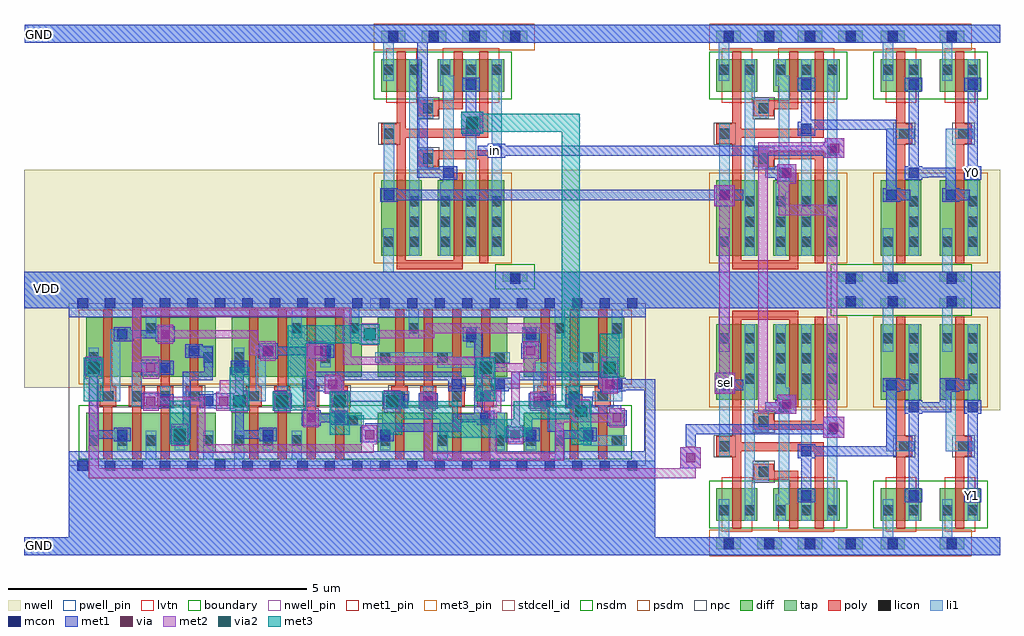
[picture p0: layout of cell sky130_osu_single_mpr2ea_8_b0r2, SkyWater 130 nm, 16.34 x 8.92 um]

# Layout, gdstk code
import gdstk
lib = gdstk.Library(unit=1e-6, precision=1e-09)
def R(c, l, rs):  # rectangles x0, y0, x1, y1
    for r in rs: c.add(gdstk.rectangle(r[:2], r[2:], *l))
def A(c, l, x, y, w, h, nx, ny, dx, dy):  # array of equal rectangles
    R(c, l, [(x+i*dx, y+j*dy, x+i*dx+w, y+j*dy+h) for i in range(nx) for j in range(ny)])
nwell_pin = (64, 16)
nwell = (64, 20)
diff = (65, 20)
tap = (65, 44)
poly = (66, 20)
licon = (66, 44)
li1 = (67, 20)
mcon = (67, 44)
met1_pin = (68, 16)
met1 = (68, 20)
via = (68, 44)
met2 = (69, 20)
via2 = (69, 44)
met3_pin = (70, 16)
met3 = (70, 20)
stdcell_id = (81, 4)
nsdm = (93, 44)
psdm = (94, 20)
npc = (95, 20)
pwell_pin = (122, 16)
lvtn = (125, 44)
boundary = (235, 4)

sky130_osu_sc_12t_hs__mu = lib.new_cell('sky130_osu_sc_12T_hs__mux2_1')
R(sky130_osu_sc_12t_hs__mu, nwell, [(-0.045,2.425,2.765,4.515)])
R(sky130_osu_sc_12t_hs__mu, diff, [(0.135,0.575,0.815,1.125), (1.085,0.575,2.195,1.125), (0.135,2.605,0.815,3.865), (1.085,2.605,2.195,3.865)])
A(sky130_osu_sc_12t_hs__mu, tap, 0.135, 0.105, 0.41, 0.2, 4, 1, 0.68, 0)
R(sky130_osu_sc_12t_hs__mu, tap, [(2.17,4.135,2.585,4.305)])
R(sky130_osu_sc_12t_hs__mu, poly, [(0.4,0.445,0.55,1.66), (1.35,0.445,1.5,1.265), (1.78,0.445,1.93,1.745), (0.76,1.265,1.5,1.415), (0.76,1.415,1.09,1.535), (0.135,1.66,0.55,1.745), (0.135,1.745,1.93,1.895), (0.135,1.895,0.55,1.99), (0.4,1.99,0.55,3.94), (0.76,2.105,1.93,2.255), (0.76,2.255,1.09,2.375), (1.78,2.255,1.93,3.995), (1.35,2.475,1.5,3.94), (0.4,3.94,1.5,4.09)])
A(sky130_osu_sc_12t_hs__mu, licon, 0.255, 0.135, 0.17, 0.17, 4, 1, 0.68, 0)
A(sky130_osu_sc_12t_hs__mu, licon, 1.125, 0.67, 0.17, 0.17, 3, 2, 0.43, 2.2)
A(sky130_osu_sc_12t_hs__mu, licon, 0.605, 2.87, 0.17, 0.17, 1, 3, 0, 0.34)
A(sky130_osu_sc_12t_hs__mu, licon, 1.125, 3.21, 0.17, 0.17, 3, 2, 0.43, 0.34)
R(sky130_osu_sc_12t_hs__mu, licon, [(0.175,0.67,0.345,0.84), (0.605,0.67,0.775,0.84), (0.84,1.315,1.01,1.485), (0.185,1.74,0.355,1.91), (0.84,2.155,1.01,2.325), (0.175,3.55,0.345,3.72), (2.295,4.135,2.465,4.305)])
R(sky130_osu_sc_12t_hs__mu, li1, [(0,0,2.75,0.305), (0.175,0.305,0.345,0.935), (0.605,0.575,0.775,1.235), (1.125,0.575,1.295,0.855), (1.555,0.575,1.725,1.085), (1.985,0.575,2.155,3.865), (1.125,0.855,1.35,1.025), (1.18,1.025,1.35,2.635), (0.605,1.235,1.01,1.565), (0.605,1.565,0.775,2.075), (1.555,1.655,1.725,3.865), (0.185,1.66,0.355,2.935), (0.605,2.075,1.01,2.405), (0.605,2.405,0.775,3.865), (1.125,2.635,1.35,2.805), (1.125,2.805,1.295,3.865), (0.175,3.405,0.345,4.135), (0,4.135,2.75,4.44)])
A(sky130_osu_sc_12t_hs__mu, mcon, 0.255, 0.105, 0.17, 0.17, 4, 1, 0.68, 0)
R(sky130_osu_sc_12t_hs__mu, mcon, [(1.555,0.915,1.725,1.085), (1.555,1.655,1.725,1.825), (1.985,2.025,2.155,2.195), (1.18,2.395,1.35,2.565), (0.185,2.765,0.355,2.935), (2.295,4.165,2.465,4.335)])
R(sky130_osu_sc_12t_hs__mu, met1, [(0,0,2.75,0.305), (1.495,0.885,1.785,1.115), (1.555,1.115,1.725,1.625), (1.495,1.625,1.785,1.855), (1.925,1.995,2.215,2.025), (1.755,2.025,2.215,2.195), (1.925,2.195,2.215,2.225), (1.12,2.365,1.41,2.395), (0.95,2.395,1.41,2.565), (1.12,2.565,1.41,2.595), (0.125,2.735,0.415,2.765), (0.125,2.765,0.585,2.935), (0.125,2.935,0.415,2.965), (0,4.135,2.75,4.44)])
R(sky130_osu_sc_12t_hs__mu, nsdm, [(0.01,0.45,2.32,1.25), (2.045,4.01,2.71,4.43)])
R(sky130_osu_sc_12t_hs__mu, psdm, [(0.01,-0.02,2.71,0.43), (0.01,2.48,2.32,3.99)])
R(sky130_osu_sc_12t_hs__mu, npc, [(0.74,1.215,1.11,1.585), (0.085,1.64,0.455,2.01), (0.74,2.055,1.11,2.425)])
R(sky130_osu_sc_12t_hs__mu, lvtn, [(0.22,0.395,0.73,1.305), (1.17,0.395,2.11,1.305)])
sky130_osu_sc_12t_hs__mu.add(gdstk.Label('S0', (0.27,2.85), layer=68, texttype=5))
sky130_osu_sc_12t_hs__mu.add(gdstk.Label('Y', (1.64,1.74), layer=68, texttype=5))
sky130_osu_sc_12t_hs__mu.add(gdstk.Label('A0', (1.265,2.48), layer=68, texttype=5))
sky130_osu_sc_12t_hs__mu.add(gdstk.Label('A1', (2.07,2.11), layer=68, texttype=5))
sky130_osu_sc_12t_hs__mu.add(gdstk.Label('VDD', (2.38,4.2), layer=68, texttype=5))
sky130_osu_sc_12t_hs__mu.add(gdstk.Label('GND ', (0.34,0.24), layer=68, texttype=5))

sky130_osu_sc_12t_hs__fi = lib.new_cell('sky130_osu_sc_12T_hs__fill_2')
R(sky130_osu_sc_12t_hs__fi, nwell, [(-0.035,2.425,0.25,4.485)])
R(sky130_osu_sc_12t_hs__fi, li1, [(0,0,0.22,0.305), (0,4.135,0.22,4.44)])
R(sky130_osu_sc_12t_hs__fi, met1, [(0,0,0.22,0.305), (0,4.135,0.22,4.44)])
sky130_osu_sc_12t_hs__fi.add(gdstk.Label('vdd', (0.11,4.28), layer=68, texttype=5))
sky130_osu_sc_12t_hs__fi.add(gdstk.Label('gnd', (0.115,0.14), layer=68, texttype=5))

c_sky130_osu_sc_12t_hs__fi = lib.new_cell('sky130_osu_sc_12T_hs__fill_8')
R(c_sky130_osu_sc_12t_hs__fi, nwell, [(-0.045,2.425,0.895,4.485)])
R(c_sky130_osu_sc_12t_hs__fi, li1, [(0,0,0.88,0.305), (0,4.135,0.88,4.44)])
R(c_sky130_osu_sc_12t_hs__fi, met1, [(0,0,0.88,0.305), (0,4.135,0.88,4.44)])
c_sky130_osu_sc_12t_hs__fi.add(gdstk.Label('vdd', (0.555,4.295), layer=68, texttype=5))
c_sky130_osu_sc_12t_hs__fi.add(gdstk.Label('gnd', (0.56,0.14), layer=68, texttype=5))

sky130_osu_sc_12t_hs__in = lib.new_cell('sky130_osu_sc_12T_hs__inv_1')
R(sky130_osu_sc_12t_hs__in, nwell, [(-0.05,2.425,0.995,4.515)])
R(sky130_osu_sc_12t_hs__in, diff, [(0.135,0.575,0.815,1.125), (0.135,2.605,0.815,3.865)])
R(sky130_osu_sc_12t_hs__in, tap, [(0.135,0.105,0.545,0.305), (0.13,4.135,0.55,4.305)])
R(sky130_osu_sc_12t_hs__in, poly, [(0.4,0.445,0.55,1.66), (0.4,1.66,0.67,1.99), (0.4,1.99,0.55,3.995)])
A(sky130_osu_sc_12t_hs__in, licon, 0.605, 2.87, 0.17, 0.17, 1, 3, 0, 0.34)
R(sky130_osu_sc_12t_hs__in, licon, [(0.255,0.135,0.425,0.305), (0.175,0.67,0.345,0.84), (0.605,0.67,0.775,0.84), (0.45,1.74,0.62,1.91), (0.175,3.55,0.345,3.72), (0.255,4.135,0.425,4.305)])
R(sky130_osu_sc_12t_hs__in, li1, [(0,0,0.99,0.305), (0.175,0.305,0.345,0.935), (0.605,0.575,0.775,1.085), (0.235,1.74,0.7,1.91), (0.235,1.91,0.405,2.935), (0.605,2.395,0.775,3.865), (0.175,3.405,0.345,4.135), (0,4.135,0.99,4.44)])
R(sky130_osu_sc_12t_hs__in, mcon, [(0.255,0.105,0.425,0.275), (0.605,0.915,0.775,1.085), (0.605,2.395,0.775,2.565), (0.235,2.765,0.405,2.935), (0.255,4.165,0.425,4.335)])
R(sky130_osu_sc_12t_hs__in, met1, [(0,0,0.99,0.305), (0.545,0.885,0.835,1.115), (0.605,1.115,0.775,2.365), (0.545,2.365,0.835,2.595), (0.175,2.735,0.465,2.765), (0.175,2.765,0.635,2.935), (0.175,2.935,0.465,2.965), (0,4.135,0.99,4.44)])
R(sky130_osu_sc_12t_hs__in, nsdm, [(0.01,0.45,0.94,1.25), (0.005,4.01,0.675,4.43)])
R(sky130_osu_sc_12t_hs__in, psdm, [(0.01,-0.02,0.67,0.43), (0.01,2.48,0.94,3.99)])
R(sky130_osu_sc_12t_hs__in, npc, [(0.35,1.64,0.72,2.01)])
R(sky130_osu_sc_12t_hs__in, lvtn, [(0.22,0.395,0.73,1.305)])
sky130_osu_sc_12t_hs__in.add(gdstk.Label('Y', (0.755,1.725), layer=68, texttype=5))
sky130_osu_sc_12t_hs__in.add(gdstk.Label('A', (0.32,2.85), layer=68, texttype=5))
sky130_osu_sc_12t_hs__in.add(gdstk.Label('VDD', (0.34,4.2), layer=68, texttype=5))
sky130_osu_sc_12t_hs__in.add(gdstk.Label('GND', (0.34,0.24), layer=68, texttype=5))

scs130hd_mpr2ea_8 = lib.new_cell('scs130hd_mpr2ea_8')
A(scs130hd_mpr2ea_8, nwell_pin, 0.165, 2.635, 0.17, 0.17, 4, 1, 2.44, 0)
R(scs130hd_mpr2ea_8, nwell, [(-0.19,1.305,9.85,2.91)])
A(scs130hd_mpr2ea_8, diff, 0.29, 0.235, 2.17, 0.65, 3, 1, 2.44, 0)
A(scs130hd_mpr2ea_8, diff, 0.29, 1.485, 2.17, 1, 3, 1, 2.44, 0)
R(scs130hd_mpr2ea_8, diff, [(7.61,0.235,9.3,0.885), (7.61,1.485,9.3,2.485)])
A(scs130hd_mpr2ea_8, poly, 0.58, 0.105, 0.15, 0.89, 4, 1, 0.48, 0)
A(scs130hd_mpr2ea_8, poly, 3.02, 0.105, 0.15, 0.89, 4, 1, 0.48, 0)
A(scs130hd_mpr2ea_8, poly, 5.46, 0.105, 0.15, 0.89, 4, 1, 0.48, 0)
A(scs130hd_mpr2ea_8, poly, 7.9, 0.105, 0.15, 0.89, 3, 1, 0.48, 0)
A(scs130hd_mpr2ea_8, poly, 0.52, 0.995, 0.27, 0.33, 4, 1, 0.48, 0)
A(scs130hd_mpr2ea_8, poly, 2.96, 0.995, 0.27, 0.33, 4, 1, 0.48, 0)
A(scs130hd_mpr2ea_8, poly, 5.4, 0.995, 0.27, 0.33, 4, 1, 0.48, 0)
A(scs130hd_mpr2ea_8, poly, 7.84, 0.995, 0.27, 0.33, 3, 1, 0.48, 0)
A(scs130hd_mpr2ea_8, poly, 0.58, 1.325, 0.15, 1.29, 4, 1, 0.48, 0)
A(scs130hd_mpr2ea_8, poly, 3.02, 1.325, 0.15, 1.29, 4, 1, 0.48, 0)
A(scs130hd_mpr2ea_8, poly, 5.46, 1.325, 0.15, 1.29, 4, 1, 0.48, 0)
A(scs130hd_mpr2ea_8, poly, 7.9, 1.325, 0.15, 1.29, 3, 1, 0.48, 0)
A(scs130hd_mpr2ea_8, licon, 0.33, 0.335, 0.17, 0.17, 5, 1, 0.48, 0)
A(scs130hd_mpr2ea_8, licon, 2.77, 0.335, 0.17, 0.17, 3, 1, 0.48, 0)
A(scs130hd_mpr2ea_8, licon, 5.21, 0.335, 0.17, 0.17, 3, 2, 0.96, 1.39)
A(scs130hd_mpr2ea_8, licon, 0.57, 1.075, 0.17, 0.17, 4, 1, 0.48, 0)
A(scs130hd_mpr2ea_8, licon, 3.01, 1.075, 0.17, 0.17, 4, 1, 0.48, 0)
A(scs130hd_mpr2ea_8, licon, 5.45, 1.075, 0.17, 0.17, 4, 1, 0.48, 0)
A(scs130hd_mpr2ea_8, licon, 7.89, 1.075, 0.17, 0.17, 3, 1, 0.48, 0)
R(scs130hd_mpr2ea_8, licon, [(7.65,0.335,7.82,0.505), (8.13,0.335,8.3,0.505), (9.09,0.335,9.26,0.505), (4.67,0.675,4.84,0.845), (0.33,1.725,0.5,1.895), (2.25,1.725,2.42,1.895), (2.77,1.725,2.94,1.895), (4.21,1.725,4.38,1.895), (8.61,1.725,8.78,1.895), (6.65,2.065,6.82,2.235), (7.65,2.065,7.82,2.235), (1.29,2.215,1.46,2.385), (3.73,2.215,3.9,2.385), (4.69,2.215,4.86,2.385), (5.69,2.215,5.86,2.385), (8.13,2.215,8.3,2.385), (9.09,2.215,9.26,2.385)])
A(scs130hd_mpr2ea_8, li1, 0.33, 0.085, 0.17, 0.5, 3, 1, 0.96, 0)
A(scs130hd_mpr2ea_8, li1, 3.49, 0.995, 0.17, 0.33, 3, 1, 2.44, 0)
R(scs130hd_mpr2ea_8, li1, [(0,-0.085,9.66,0.085), (2.77,0.085,2.94,0.585), (3.73,0.085,3.9,0.585), (6.17,0.085,6.34,0.585), (8.13,0.085,8.3,0.585), (0.81,0.255,0.98,0.605), (1.77,0.255,1.94,0.605), (3.25,0.255,3.42,0.605), (5.21,0.255,5.38,0.605), (7.13,0.255,7.3,0.715), (7.65,0.255,7.82,0.605), (8.61,0.335,9.34,0.505), (8.61,0.505,8.78,0.605), (4.45,0.675,4.94,0.845), (6.89,0.715,7.3,0.885), (4.45,0.845,4.62,0.885), (1.05,0.995,1.22,1.555), (1.53,0.995,1.7,1.325), (2.25,0.995,2.42,1.075), (3.97,0.995,4.14,1.445), (5.45,0.995,5.62,1.075), (6.41,0.995,6.58,1.445), (7.89,0.995,8.06,1.075), (0.49,1.075,0.86,1.245), (1.93,1.075,2.42,1.245), (2.93,1.075,3.3,1.245), (4.37,1.075,5.7,1.245), (6.81,1.075,7.3,1.245), (7.77,1.075,8.06,1.325), (8.77,1.075,9.26,1.245), (0.69,1.245,0.86,2.115), (3.13,1.245,3.3,1.835), (7.13,1.245,7.3,1.445), (9.09,1.245,9.26,1.445), (7.77,1.325,7.94,1.555), (0.33,1.555,0.5,1.975), (1.05,1.555,1.7,1.725), (2.77,1.555,2.94,1.975), (7.77,1.555,8.78,1.725), (6.17,1.64,7.3,1.725), (2.25,1.645,2.42,1.835), (4.21,1.645,4.38,2.005), (5.13,1.725,7.38,1.81), (8.53,1.725,8.86,1.895), (5.13,1.81,6.42,1.895), (7.05,1.81,7.38,1.895), (2.01,1.835,2.42,2.005), (3.13,1.835,3.42,2.005), (6.65,1.985,6.82,2.315), (7.65,1.985,7.82,2.315), (0.69,2.115,0.98,2.285), (1.29,2.135,1.46,2.635), (3.73,2.135,3.9,2.635), (4.69,2.135,4.86,2.635), (5.69,2.135,5.86,2.635), (8.13,2.135,8.3,2.635), (9.09,2.135,9.26,2.635), (0,2.635,9.66,2.805)])
A(scs130hd_mpr2ea_8, mcon, 0.145, -0.085, 0.17, 0.17, 21, 2, 0.46, 2.72)
R(scs130hd_mpr2ea_8, mcon, [(0.81,0.435,0.98,0.605), (1.77,0.435,1.94,0.605), (3.25,0.435,3.42,0.605), (5.21,0.435,5.38,0.605), (7.65,0.435,7.82,0.605), (8.61,0.435,8.78,0.605), (4.45,0.715,4.62,0.885), (6.89,0.715,7.06,0.885), (1.53,0.995,1.7,1.165), (2.25,0.995,2.42,1.165), (3.49,0.995,3.66,1.165), (5.45,0.995,5.62,1.165), (5.93,0.995,6.1,1.165), (7.89,0.995,8.06,1.165), (8.37,0.995,8.54,1.165), (3.97,1.275,4.14,1.445), (6.41,1.275,6.58,1.445), (7.13,1.275,7.3,1.445), (9.09,1.275,9.26,1.445), (0.33,1.555,0.5,1.725), (1.53,1.555,1.7,1.725), (2.77,1.555,2.94,1.725), (2.01,1.835,2.18,2.005), (3.25,1.835,3.42,2.005), (4.21,1.835,4.38,2.005), (0.81,2.115,0.98,2.285), (6.65,2.115,6.82,2.285), (7.65,2.115,7.82,2.285)])
R(scs130hd_mpr2ea_8, met1_pin, [(0.155,-0.085,0.325,0.085), (0.155,2.635,0.325,2.805)])
R(scs130hd_mpr2ea_8, met1, [(0,-0.24,9.66,0.24), (1.695,0.39,2.015,0.45), (4.875,0.39,5.195,0.405), (7.315,0.39,7.635,0.405), (0.75,0.405,1.04,0.45), (3.19,0.405,3.48,0.45), (4.875,0.405,5.44,0.57), (7.315,0.405,7.88,0.635), (8.55,0.405,8.84,0.45), (0.345,0.45,1.04,0.59), (1.695,0.45,2.045,0.65), (2.785,0.45,3.48,0.59), (8.145,0.45,8.84,0.57), (4.875,0.57,6.565,0.65), (8.02,0.57,8.84,0.59), (0.345,0.59,0.485,1.51), (0.75,0.59,1.04,0.635), (2.785,0.59,2.925,0.95), (3.19,0.59,3.48,0.635), (8.02,0.59,8.285,0.71), (8.55,0.59,8.84,0.635), (7.315,0.635,7.635,0.65), (1.905,0.65,2.045,1.43), (4.965,0.65,6.565,0.71), (3.895,0.67,4.215,0.73), (9.015,0.67,9.335,0.87), (4.39,0.685,4.68,0.73), (6.83,0.685,7.12,0.73), (6.425,0.71,6.565,0.73), (8.02,0.71,8.16,0.95), (3.895,0.73,4.68,0.87), (6.425,0.73,7.12,0.87), (3.895,0.87,4.215,0.93), (4.39,0.87,4.68,0.915), (6.785,0.87,7.12,0.915), (8.625,0.87,9.335,0.93), (6.785,0.915,6.925,2.085), (8.625,0.93,9.245,0.965), (1.215,0.95,1.535,0.965), (2.435,0.95,2.925,0.965), (3.415,0.95,3.735,1.21), (5.255,0.95,5.575,0.965), (5.855,0.95,6.175,1.21), (7.695,0.95,8.16,1.195), (1.215,0.965,1.76,1.195), (2.19,0.965,2.925,1.195), (5.255,0.965,5.68,1.195), (8.31,0.965,9.245,1.01), (8.31,1.01,8.765,1.15), (8.31,1.15,8.6,1.195), (1.215,1.195,1.535,1.21), (2.435,1.195,2.925,1.21), (5.255,1.195,5.575,1.21), (7.695,1.195,8.015,1.21), (2.785,1.21,2.925,1.525), (4.255,1.23,4.575,1.245), (8.895,1.23,9.215,1.245), (3.91,1.245,4.575,1.43), (6.35,1.245,6.64,1.43), (7.07,1.245,7.36,1.29), (8.895,1.245,9.32,1.29), (7.07,1.29,7.545,1.43), (8.865,1.29,9.32,1.43), (1.905,1.43,2.405,1.57), (3.91,1.43,6.64,1.475), (7.07,1.43,9.32,1.475), (3.985,1.475,6.565,1.57), (7.405,1.475,9.215,1.49), (7.405,1.49,9.005,1.57), (0.255,1.51,0.575,1.77), (1.215,1.51,1.535,1.525), (1.215,1.525,1.76,1.755), (2.71,1.525,3,1.755), (2.265,1.57,2.405,1.805), (1.215,1.755,1.535,1.77), (3.175,1.79,3.495,1.85), (4.015,1.79,4.335,1.805), (7.575,1.79,7.895,2.05), (1.95,1.805,2.405,1.99), (4.015,1.805,4.44,1.85), (3.175,1.85,4.44,1.99), (1.95,1.99,2.24,2.035), (3.175,1.99,3.495,2.05), (4.015,1.99,4.44,2.035), (4.015,2.035,4.335,2.05), (7.59,2.05,7.88,2.315), (1.455,2.07,1.775,2.13), (0.825,2.08,1.085,2.085), (0.75,2.085,1.085,2.13), (6.59,2.085,6.925,2.27), (0.75,2.13,1.775,2.27), (0.75,2.27,1.04,2.315), (1.455,2.27,1.775,2.33), (6.59,2.27,6.88,2.315), (0,2.48,9.66,2.96)])
R(scs130hd_mpr2ea_8, via, [(1.78,0.445,1.93,0.595), (4.96,0.445,5.11,0.595), (7.4,0.445,7.55,0.595), (3.98,0.725,4.13,0.875), (9.1,0.725,9.25,0.875), (1.3,1.005,1.45,1.155), (2.52,1.005,2.67,1.155), (3.5,1.005,3.65,1.155), (5.34,1.005,5.49,1.155), (5.94,1.005,6.09,1.155), (7.78,1.005,7.93,1.155), (4.34,1.285,4.49,1.435), (8.98,1.285,9.13,1.435), (0.34,1.565,0.49,1.715), (1.3,1.565,1.45,1.715), (3.26,1.845,3.41,1.995), (4.1,1.845,4.25,1.995), (7.66,1.845,7.81,1.995), (1.54,2.125,1.69,2.275)])
R(scs130hd_mpr2ea_8, met2, [(5.945,0.08,8.285,0.22), (2.145,0.22,5.105,0.36), (5.945,0.22,6.085,0.92), (7.025,0.22,7.165,0.895), (8.145,0.22,8.285,0.73), (1.715,0.335,1.995,0.705), (2.145,0.36,2.285,1.01), (4.905,0.36,5.165,0.68), (7.345,0.36,7.605,0.68), (3.925,0.64,4.185,0.96), (9.045,0.64,9.305,0.73), (7.405,0.68,7.545,1.57), (8.145,0.73,9.305,0.87), (8.435,0.87,8.715,1.1), (9.045,0.87,9.305,0.96), (2.715,0.895,2.995,0.92), (3.435,0.895,3.715,1.265), (4.395,0.895,4.675,1.2), (5.275,0.895,5.555,1.265), (6.955,0.895,7.235,1.265), (1.245,0.92,1.505,1.01), (2.465,0.92,2.995,1.24), (5.885,0.92,6.145,1.24), (7.725,0.92,7.985,1.1), (3.985,0.96,4.125,1.76), (1.245,1.01,2.285,1.15), (7.725,1.1,8.15,1.24), (1.245,1.15,1.505,1.24), (4.285,1.2,4.675,1.265), (8.925,1.2,9.185,1.455), (2.525,1.24,2.995,1.265), (8.005,1.24,8.15,2.22), (2.525,1.265,2.925,1.43), (4.285,1.265,4.605,1.43), (4.285,1.43,4.545,1.52), (0.275,1.455,0.555,1.825), (1.235,1.455,1.515,1.57), (6.835,1.455,7.115,1.57), (8.915,1.455,9.195,1.825), (1.065,1.57,1.515,1.825), (6.835,1.57,7.805,1.685), (4.585,1.685,7.805,1.71), (4.585,1.71,7.115,1.825), (7.605,1.71,7.805,1.76), (3.205,1.76,3.465,1.85), (3.985,1.76,4.305,2.08), (7.605,1.76,7.865,2.08), (1.065,1.825,1.205,2.5), (4.585,1.825,4.725,2.5), (3.025,1.85,3.465,2.08), (4.895,2.015,5.175,2.13), (1.485,2.04,1.745,2.13), (3.025,2.08,3.165,2.13), (1.485,2.13,3.165,2.27), (4.895,2.13,6.115,2.22), (4.895,2.22,8.15,2.27), (1.485,2.27,1.745,2.36), (4.895,2.27,5.175,2.385), (5.975,2.27,8.15,2.385), (1.065,2.5,4.725,2.64)])
R(scs130hd_mpr2ea_8, via2, [(1.755,0.42,1.955,0.62), (8.475,0.815,8.675,1.015), (2.755,0.98,2.955,1.18), (3.475,0.98,3.675,1.18), (4.435,0.98,4.635,1.18), (5.315,0.98,5.515,1.18), (0.315,1.54,0.515,1.74), (6.875,1.54,7.075,1.74), (8.955,1.54,9.155,1.74), (4.935,2.1,5.135,2.3)])
R(scs130hd_mpr2ea_8, met3_pin, [(8.41,0.35,8.74,1.08), (1.69,0.355,2.02,1.085), (4.37,0.515,4.7,1.245), (5.25,0.515,5.58,1.245), (2.69,0.915,3.02,1.645), (0.25,1.075,0.58,1.805), (6.81,1.075,7.14,1.805), (8.89,1.475,9.22,2.205)])
R(scs130hd_mpr2ea_8, met3, [(8.41,0.35,8.74,1.08), (1.69,0.355,2.02,1.085), (4.37,0.515,4.7,1.245), (5.25,0.515,5.58,1.245), (2.69,0.915,3.02,1.645), (3.41,0.915,3.74,0.93), (3.41,0.93,3.965,1.245), (0.25,1.075,0.58,1.805), (6.81,1.075,7.14,1.805), (3.665,1.245,3.965,2.05), (8.89,1.475,9.22,2.205), (4.87,2.035,5.2,2.05), (3.665,2.05,5.2,2.35), (4.87,2.35,5.2,2.365)])
R(scs130hd_mpr2ea_8, stdcell_id, [(0,0,9.66,2.72)])
R(scs130hd_mpr2ea_8, nsdm, [(0.165,0.11,9.425,1.01)])
R(scs130hd_mpr2ea_8, psdm, [(0.165,1.36,9.425,2.61)])
A(scs130hd_mpr2ea_8, npc, 0.47, 0.975, 1.81, 0.37, 3, 1, 2.44, 0)
R(scs130hd_mpr2ea_8, npc, [(7.79,0.975,9.12,1.345)])
A(scs130hd_mpr2ea_8, pwell_pin, 0.165, -0.085, 0.17, 0.17, 4, 1, 2.44, 0)
R(scs130hd_mpr2ea_8, boundary, [(0,0,9.66,2.72)])
scs130hd_mpr2ea_8.add(gdstk.Label('VPB', (0.25,2.72), layer=64, texttype=5))
scs130hd_mpr2ea_8.add(gdstk.Label('VPB', (2.69,2.72), layer=64, texttype=5))
scs130hd_mpr2ea_8.add(gdstk.Label('VPB', (5.13,2.72), layer=64, texttype=5))
scs130hd_mpr2ea_8.add(gdstk.Label('VPB', (7.57,2.72), layer=64, texttype=5))
scs130hd_mpr2ea_8.add(gdstk.Label('VNB', (0.25,0), layer=64, texttype=59))
scs130hd_mpr2ea_8.add(gdstk.Label('VNB', (2.69,0), layer=64, texttype=59))
scs130hd_mpr2ea_8.add(gdstk.Label('VNB', (5.13,0), layer=64, texttype=59))
scs130hd_mpr2ea_8.add(gdstk.Label('VNB', (7.57,0), layer=64, texttype=59))
scs130hd_mpr2ea_8.add(gdstk.Label('B0', (9.055,1.84), layer=70, texttype=5))
scs130hd_mpr2ea_8.add(gdstk.Label('A1', (4.535,0.88), layer=70, texttype=5))
scs130hd_mpr2ea_8.add(gdstk.Label('R2', (0.415,1.44), layer=70, texttype=5))
scs130hd_mpr2ea_8.add(gdstk.Label('A0', (8.575,0.715), layer=70, texttype=5))
scs130hd_mpr2ea_8.add(gdstk.Label('R0', (6.975,1.44), layer=70, texttype=5))
scs130hd_mpr2ea_8.add(gdstk.Label('R3', (2.855,1.28), layer=70, texttype=5))
scs130hd_mpr2ea_8.add(gdstk.Label('B1', (5.415,0.88), layer=70, texttype=5))
scs130hd_mpr2ea_8.add(gdstk.Label('R1', (1.855,0.72), layer=70, texttype=5))
scs130hd_mpr2ea_8.add(gdstk.Label('vpwr', (0.24,2.72), layer=68, texttype=5))
scs130hd_mpr2ea_8.add(gdstk.Label('vgnd', (0.24,0), layer=68, texttype=5))

sky130_osu_single_mpr2ea = lib.new_cell('sky130_osu_single_mpr2ea_8_b0r2')
R(sky130_osu_single_mpr2ea, nwell, [(0.49,2.425,1.555,2.725), (6.21,2.425,6.435,6.455), (5.465,2.565,5.615,2.74), (0.485,2.725,1.555,4.135), (-9.9,2.8,-9.015,3.31), (-9.9,3.31,-9.34,4.135), (-9.9,4.135,-8.915,4.305), (0.475,4.135,1.605,4.445), (-9.9,4.305,-0.37,4.4), (-9.9,4.4,-0.205,4.445), (-9.9,4.445,1.605,4.745), (-9.9,4.745,1.555,5.94), (-9.9,5.94,1.53,6.455)])
R(sky130_osu_single_mpr2ea, diff, [(5.895,0.915,6.065,1.085)])
R(sky130_osu_single_mpr2ea, li1, [(-9.895,0,1.81,0.305), (6.255,0,6.435,0.305), (-9.15,0.305,0.665,1.455), (5.895,0.915,6.065,1.085), (-9.025,1.455,-8.83,1.595), (-6.725,1.455,-6.53,1.595), (-4.89,1.455,-4.695,1.565), (-3.05,1.455,-2.855,1.595), (-1.2,1.455,-1,1.57), (0.47,1.455,0.665,1.565), (-4.6,1.565,-4.405,1.595), (0.475,1.565,0.665,1.585), (-9.895,4.135,-8.915,4.305), (0.475,4.135,1.605,4.295), (6.255,4.135,6.435,4.745), (-0.505,4.295,1.605,4.305), (-9.895,4.305,1.605,4.615), (-9.895,4.615,-0.37,4.745), (0.475,4.615,1.605,4.745), (5.895,6.315,6.065,6.485), (-9.89,8.575,1.81,8.88), (6.255,8.575,6.435,8.88)])
R(sky130_osu_single_mpr2ea, mcon, [(5.895,0.915,6.065,1.085), (5.895,6.315,6.065,6.485)])
R(sky130_osu_single_mpr2ea, met1_pin, [(5.895,0.915,6.065,1.085), (5.895,6.315,6.065,6.485), (-2.075,6.685,-1.93,6.855)])
R(sky130_osu_single_mpr2ea, met1, [(-9.895,0,1.81,0.305), (6.255,0,6.435,0.305), (-9.15,0.305,0.665,1.455), (5.895,0.915,6.065,1.085), (-9.025,1.455,-8.83,1.595), (-6.725,1.455,-6.53,1.595), (-4.89,1.455,-4.695,1.565), (-3.05,1.455,-2.855,1.595), (0.47,1.455,0.665,1.565), (1.085,1.46,1.425,1.81), (-4.6,1.565,-4.405,1.595), (0.475,1.565,0.665,1.585), (0.48,1.585,0.665,2.76), (3.11,1.655,4.7,1.82), (1.175,1.81,1.345,2.025), (3.11,1.82,3.28,1.825), (3.34,1.82,4.7,1.825), (4.535,1.825,4.7,2.735), (3.48,1.965,3.83,2.025), (1.175,2.025,3.83,2.195), (3.48,2.195,3.83,2.315), (2.705,2.365,3.025,2.395), (2.675,2.395,3.025,2.565), (5.07,2.395,5.615,2.565), (2.705,2.565,3.025,2.685), (5.425,2.565,5.615,2.74), (1.665,2.705,2.005,3.055), (-0.22,2.735,0.02,2.76), (4.535,2.735,4.71,2.75), (5.425,2.74,5.53,2.965), (4.54,2.75,4.71,2.765), (-0.22,2.76,0.665,2.945), (4.535,2.765,4.71,2.8), (4.535,2.8,4.705,2.935), (-0.22,2.945,0.02,3.01), (-0.3,3.01,0.02,3.055), (-9.895,4.135,-8.915,4.305), (0.475,4.135,1.605,4.295), (6.255,4.135,6.435,4.745), (-0.505,4.295,1.605,4.305), (-9.895,4.305,1.605,4.355), (-9.895,4.355,-2.33,4.745), (-1.78,4.355,1.605,4.615), (-1.78,4.615,-0.37,4.745), (0.475,4.615,1.605,4.745), (1.655,5.84,1.995,5.945), (4.53,5.94,4.7,7.12), (-3.73,5.945,1.995,6.115), (5.535,5.945,5.695,6.145), (1.655,6.115,1.995,6.19), (5.525,6.145,5.695,6.325), (2.705,6.255,3.025,6.545), (-3.315,6.315,-2.94,6.485), (5.895,6.315,6.065,6.485), (5.075,6.32,5.235,6.325), (5.075,6.325,5.695,6.485), (-3.315,6.485,-3.14,8.575), (3.505,6.655,3.83,6.685), (-2.075,6.685,3.83,6.855), (3.505,6.855,3.83,6.98), (-2.585,7.055,-2.33,7.075), (3.11,7.055,3.34,7.12), (-2.585,7.075,-2.215,7.425), (3.11,7.12,4.7,7.225), (3.34,7.225,4.7,7.255), (3.28,7.255,4.7,7.29), (-9.89,8.575,1.81,8.88), (6.255,8.575,6.435,8.88)])
R(sky130_osu_single_mpr2ea, via, [(1.185,1.56,1.335,1.71), (3.58,2.065,3.73,2.215), (2.79,2.45,2.94,2.6), (1.765,2.805,1.915,2.955), (1.755,5.94,1.905,6.09), (2.79,6.325,2.94,6.475), (3.595,6.74,3.745,6.89), (-2.475,7.165,-2.325,7.315)])
R(sky130_osu_single_mpr2ea, met2, [(-8.82,1.29,1.345,1.46), (-8.82,1.46,-8.65,3.215), (1.085,1.46,1.425,1.81), (1.175,1.81,1.345,1.815), (-7.4,1.89,-7.23,1.99), (3.48,1.965,3.83,2.315), (3.535,2.315,3.71,5.695), (2.705,2.365,3.025,2.395), (2.39,2.395,3.025,2.565), (2.39,2.565,2.55,6.745), (2.705,2.565,3.025,2.685), (1.665,2.705,2.005,3.055), (1.74,3.055,1.91,5.84), (2.735,5.695,3.71,5.87), (1.655,5.84,1.995,6.19), (2.735,5.87,2.91,6.045), (2.735,6.045,2.905,6.22), (2.705,6.22,3.025,6.545), (3.505,6.655,3.83,6.745), (2.39,6.745,3.83,6.915), (3.505,6.915,3.83,6.98), (-2.585,7.055,-2.215,7.425)])
R(sky130_osu_single_mpr2ea, via2, [(-2.5,7.14,-2.3,7.34)])
R(sky130_osu_single_mpr2ea, met3, [(-2.94,1.965,-1.58,1.98), (-2.94,1.98,-1.395,2.275), (-2.94,2.275,-2.64,2.28), (-1.7,2.275,-1.395,2.28), (-4.74,2.28,-2.64,2.58), (-1.7,2.28,-0.6,2.58), (-0.9,2.58,-0.6,7.09), (-2.585,7.055,-2.215,7.09), (-2.585,7.09,-0.6,7.39), (-2.585,7.39,-2.215,7.425)])
R(sky130_osu_single_mpr2ea, nsdm, [(5.24,0.45,5.3,1.25), (5.77,0.79,6.19,1.21), (4.265,4.01,4.305,4.43), (4.975,4.01,5.295,4.43), (3.6,4.43,5.965,4.45), (4.265,4.45,4.305,4.87), (4.975,4.45,5.295,4.87), (5.24,7.63,5.3,8.43)])
R(sky130_osu_single_mpr2ea, psdm, [(4.265,-0.02,4.31,0.43), (4.97,-0.02,5.3,0.43), (5.24,2.48,5.3,3.99), (5.24,4.89,5.3,6.4), (4.265,8.45,4.31,8.9), (4.97,8.45,5.3,8.9)])
sky130_osu_single_mpr2ea.add(gdstk.Reference(sky130_osu_sc_12t_hs__mu, (-4.06,8.88), x_reflection=True))
sky130_osu_single_mpr2ea.add(gdstk.Reference(sky130_osu_sc_12t_hs__fi, (-1.26,8.88), x_reflection=True))
sky130_osu_single_mpr2ea.add(gdstk.Reference(c_sky130_osu_sc_12t_hs__fi, (-0.405,8.88), x_reflection=True))
sky130_osu_single_mpr2ea.add(gdstk.Reference(sky130_osu_sc_12t_hs__in, (4.3,0)))
sky130_osu_single_mpr2ea.add(gdstk.Reference(sky130_osu_sc_12t_hs__in, (5.29,0)))
sky130_osu_single_mpr2ea.add(gdstk.Reference(sky130_osu_sc_12t_hs__in, (5.29,8.88), x_reflection=True))
sky130_osu_single_mpr2ea.add(gdstk.Reference(sky130_osu_sc_12t_hs__in, (4.3,8.88), x_reflection=True))
sky130_osu_single_mpr2ea.add(gdstk.Reference(sky130_osu_sc_12t_hs__mu, (1.555,0)))
sky130_osu_single_mpr2ea.add(gdstk.Reference(sky130_osu_sc_12t_hs__mu, (1.555,8.88), x_reflection=True))
sky130_osu_single_mpr2ea.add(gdstk.Reference(scs130hd_mpr2ea_8, (-9.15,1.5)))
sky130_osu_single_mpr2ea.add(gdstk.Label('GND', (-9.635,0.17), layer=68, texttype=5))
sky130_osu_single_mpr2ea.add(gdstk.Label('GND', (-9.635,8.715), layer=68, texttype=5))
sky130_osu_single_mpr2ea.add(gdstk.Label('VDD', (-9.52,4.46), layer=68, texttype=5))
sky130_osu_single_mpr2ea.add(gdstk.Label('sel', (1.835,2.89), layer=69, texttype=5))
sky130_osu_single_mpr2ea.add(gdstk.Label('in', (-2.002,6.77), layer=68, texttype=5))
sky130_osu_single_mpr2ea.add(gdstk.Label('Y0', (5.98,6.4), layer=68, texttype=5))
sky130_osu_single_mpr2ea.add(gdstk.Label('Y1', (5.98,1), layer=68, texttype=5))

lib.write_gds('sky130_osu_single_mpr2ea_8_b0r2.gds')
